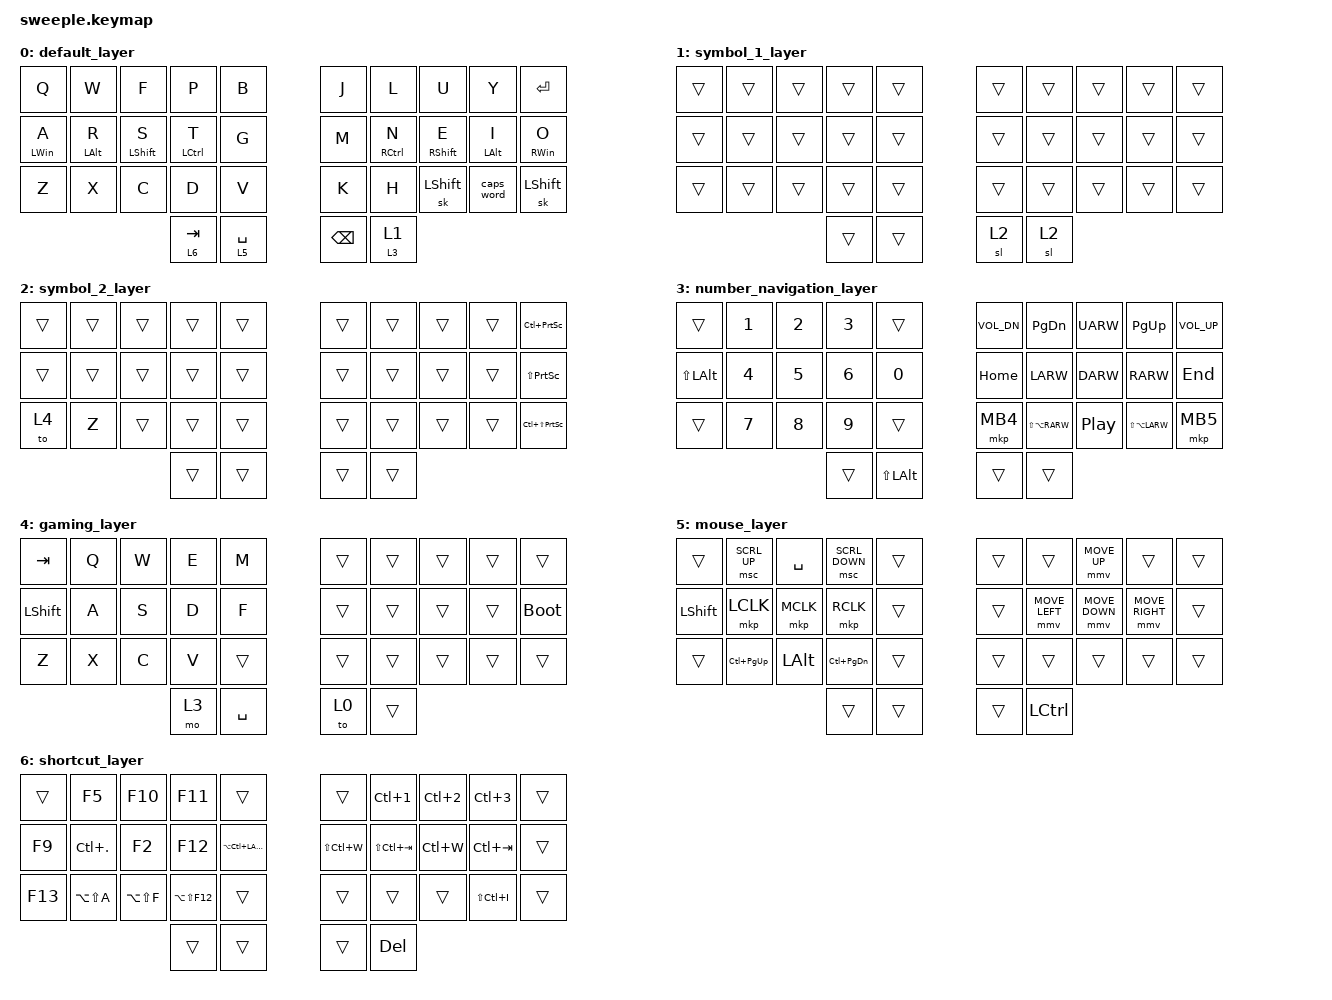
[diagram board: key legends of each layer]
#include <behaviors.dtsi>
#include <behaviors/mouse_keys.dtsi>
#include <dt-bindings/zmk/keys.h>
#include <dt-bindings/zmk/bt.h>
#include <dt-bindings/zmk/pointing.h>
#include <dt-bindings/zmk/mouse.h>  

#define KEYS_L 0 1 2 3 4 10 11 12 13 14 20 21 22 23 24
#define KEYS_R 5 6 7 8 9 15 16 17 18 19 25 26 27 28 29
#define KEYS_T 30 31 32 33

/ {
    behaviors {
        morph_curlybracket: morph_curlybracket {
            compatible = "zmk,behavior-mod-morph";
            #binding-cells = <0>;
            bindings = <&kp RA(N7)>, <&kp RA(N0)>;
            mods = <(MOD_LSFT|MOD_RSFT)>;
        };
        morph_parenthesis: morph_parenthesis {
            compatible = "zmk,behavior-mod-morph";
            #binding-cells = <0>;
            bindings = <&kp ASTRK>, <&kp LPAR>;
            mods = <(MOD_LSFT|MOD_RSFT)>;
        };
        morph_bracket: morph_bracket {
            compatible = "zmk,behavior-mod-morph";
            #binding-cells = <0>;
            bindings = <&kp RA(N8)>, <&kp RA(N9)>;
            mods = <(MOD_LSFT|MOD_RSFT)>;
        };
        morph_lt_gt: morph_lt_gt {
            compatible = "zmk,behavior-mod-morph";
            #binding-cells = <0>;
            bindings = <&kp NUBS>, <&kp LS(NUBS)>;
            mods = <(MOD_LSFT|MOD_RSFT)>;
        };
        morph_minus_under: morph_minus_under {
            compatible = "zmk,behavior-mod-morph";
            #binding-cells = <0>;
            bindings = <&kp FSLH>, <&kp LS(FSLH)>;
            mods = <(MOD_LSFT|MOD_RSFT)>;
        };
        morph_equals_plus: morph_equals_plus {
            compatible = "zmk,behavior-mod-morph";
            #binding-cells = <0>;
            bindings = <&kp RPAR>, <&kp MINUS>;
            mods = <(MOD_LSFT|MOD_RSFT)>;
        };

        morph_slash_backslash: morph_slash_backslash {
            compatible = "zmk,behavior-mod-morph";
            #binding-cells = <0>;
            bindings = <&kp AMPS>, <&kp RA(NUBS)>;
            mods = <(MOD_LSFT|MOD_RSFT)>;
        };
        
        morph_and_or: morph_and_or {
            compatible = "zmk,behavior-mod-morph";
            #binding-cells = <0>;
            bindings = <&kp CARET>, <&kp RA(EQUAL)>;
            mods = <(MOD_LSFT|MOD_RSFT)>;
        };
        morph_dot: morph_dot {
            compatible = "zmk,behavior-mod-morph";
            #binding-cells = <0>;
            bindings = <&kp DOT>, <&kp LS(DOT)>;
            mods = <(MOD_LSFT|MOD_RSFT)>;
        };
        morph_comma: morph_comma {
            compatible = "zmk,behavior-mod-morph";
            #binding-cells = <0>;
            bindings = <&kp COMMA>, <&kp LS(COMMA)>;
            mods = <(MOD_LSFT|MOD_RSFT)>;
        };
        morph_qmark_emark: morph_qmark_emark {
            compatible = "zmk,behavior-mod-morph";
            #binding-cells = <0>;
            bindings = <&kp UNDER>, <&kp LS(EXCL)>;
            mods = <(MOD_LSFT|MOD_RSFT)>;
        };
        morph_asterisk_percent: morph_asterisk_percent {
            compatible = "zmk,behavior-mod-morph";
            #binding-cells = <0>;
            bindings = <&kp PIPE>, <&kp PRCNT>;
            mods = <(MOD_LSFT|MOD_RSFT)>;
        };

        morph_doublequote_singlequote: morph_doublequote_singlequote {
            compatible = "zmk,behavior-mod-morph";
            #binding-cells = <0>;
            bindings = <&kp LS(N2)>, <&kp BSLH>;
            mods = <(MOD_LSFT|MOD_RSFT)>;
        };
        morph_at_pound: morph_at_pound {
            compatible = "zmk,behavior-mod-morph";
            #binding-cells = <0>;
            bindings = <&kp RA(N2)>, <&kp LS(N3)>;
            mods = <(MOD_LSFT|MOD_RSFT)>;
        };
        morph_dollar_euro: morph_dollar_euro {
            compatible = "zmk,behavior-mod-morph";
            #binding-cells = <0>;
            bindings = <&kp RA(N4)>, <&kp LC(LA(E))>;
            mods = <(MOD_LSFT|MOD_RSFT)>;
        };

        morph_tilde_caret: morph_tilde_caret {
            compatible = "zmk,behavior-mod-morph";
            #binding-cells = <0>;
            bindings = <&kp RA(RBKT)>, <&kp RBRC>;
            mods = <(MOD_LSFT|MOD_RSFT)>;
        };

        morph_backtick_accent: morph_backtick_accent {
            compatible = "zmk,behavior-mod-morph";
            #binding-cells = <0>;
            bindings = <&kp PLUS>, <&kp EQUAL>;
            mods = <(MOD_LSFT|MOD_RSFT)>;
        };
        
        lpht: left_positional_hold_tap {
            compatible = "zmk,behavior-hold-tap";
            #binding-cells = <2>;
            flavor = "balanced";
            tapping-term-ms = <220>;
            quick-tap-ms = <175>;
            require-prior-idle-ms = <150>;
            bindings = <&kp>, <&kp>;
            hold-trigger-key-positions = <KEYS_R KEYS_T>;
            hold-trigger-on-release;
        };
        rpht: right_positional_hold_tap {
            compatible = "zmk,behavior-hold-tap";
            #binding-cells = <2>;
            flavor = "balanced";
            tapping-term-ms = <220>;
            quick-tap-ms = <175>;
            require-prior-idle-ms = <150>;
            bindings = <&kp>, <&kp>;
            hold-trigger-key-positions = <KEYS_L KEYS_T>;
            hold-trigger-on-release;
        };
        htl: hold_tap_leader {
            label = "leader_hold_tap";
            compatible = "zmk,behavior-hold-tap";
            #binding-cells = <2>; 
            flavor = "tap-preferred"; 
            tapping-term-ms = <150>; 
            bindings = <&mo>, <&sl>; 
        };

        htlk: hold_tap_leader_kp {
            label = "leader_hold_tap_kp";
            compatible = "zmk,behavior-hold-tap";
            #binding-cells = <2>; 
            flavor = "tap-preferred"; 
            tapping-term-ms = <200>; 
            bindings = <&mo>, <&kp>; 
        };
    };

    combos {
        compatible = "zmk,combos";
        combo_aa {
            timeout-ms = <30>;
            key-positions = <17 18>; 
            layers = <0>;
            bindings = <&kp LBKT>;
        };
        combo_ae {
            timeout-ms = <30>;
            key-positions = <7 8>;
            layers = <0>;
            bindings = <&kp SEMI>; 
        };
         combo_ao {
            timeout-ms = <30>;
            key-positions = <27 28>; 
            layers = <0>;
            bindings = <&kp SQT>; 
        };

        combo_morph_curlybracket {
            timeout-ms = <30>;
            key-positions = <16 7>; 
            layers = <0 4>;
            bindings = <&morph_curlybracket>; 
        };
        combo_parenthesis {
            timeout-ms = <30>;
            key-positions = <16 17>; 
            layers = <0 4>;
            bindings = <&morph_parenthesis>; 
        };
        combo_bracket {
            timeout-ms = <30>;
            key-positions = <16 27>; 
            layers = <0 4>;
            bindings = <&morph_bracket>; 
        };
        combo_lt_gt {
            timeout-ms = <30>;
            key-positions = <6 7>; 
            layers = <0 4>;
            bindings = <&morph_lt_gt>; 
        };
        combo_minus_under {
            timeout-ms = <30>;
            key-positions = <26 27>; 
            layers = <0 4>;
            bindings = <&morph_minus_under>; 
        };
        combo_equals_plus {
            timeout-ms = <30>;
            key-positions = <26 17>; 
            layers = <0 4>;
            bindings = <&morph_equals_plus>; 
        };
        
        combo_slash_backslash {
            timeout-ms = <30>;
            key-positions = <7 18>; 
            layers = <0 4>;
            bindings = <&morph_slash_backslash>; 
        };

        combo_and_or {
            timeout-ms = <30>;
            key-positions = <2 3>; 
            layers = <0 4>;
            bindings = <&morph_and_or>; 
        };
        combo_dot {
            timeout-ms = <30>;
            key-positions = <12 13>; 
            layers = <0 4>;
            bindings = <&morph_dot>; 
        };
        combo_comma {
            timeout-ms = <30>;
            key-positions = <2 13>; 
            layers = <0 4>;
            bindings = <&morph_comma>; 
        };
        combo_qmark_emark {
            timeout-ms = <30>;
            key-positions = <22 23>; 
            layers = <0 4>;
            bindings = <&morph_qmark_emark>; 
        };
        combo_asterisk_percent {
            timeout-ms = <30>;
            key-positions = <12 23>; 
            layers = <0 4>;
            bindings = <&morph_asterisk_percent>; 
        };

        combo_doublequote_singlequote {
            timeout-ms = <30>;
            key-positions = <11 12>; 
            layers = <0 4>;
            bindings = <&morph_doublequote_singlequote>; 
        };
        combo_at_pound {
            timeout-ms = <30>;
            key-positions = <11 2>; 
            layers = <0 4>;
            bindings = <&morph_at_pound>; 
        };
        combo_dollar_euro {
            timeout-ms = <30>;
            key-positions = <21 12>; 
            layers = <0 4>;
            bindings = <&morph_dollar_euro>; 
        };
        
        
        combo_esc {
            timeout-ms = <30>;
            key-positions = <0 1>; 
            layers = <0 4>;
            bindings = <&kp ESC>; 
        };
        
        combo_paste {
            timeout-ms = <30>;
            key-positions = <1 2>; 
            layers = <0>;
            bindings = <&kp LC(V)>; 
        };
        combo_copy {
            timeout-ms = <30>;
            key-positions = <21 22>; 
            layers = <0>;
            bindings = <&kp LC(C)>; 
        };

        combo_tilde_caret {
            timeout-ms = <30>;
            key-positions = <18 19>;
            layers = <0>;
            bindings = <&morph_tilde_caret>; 
        };
        combo_backtick_accent {
            timeout-ms = <30>;
            key-positions = <10 11>; 
            layers = <0>;
            bindings = <&morph_backtick_accent>; 
        };
    };
    
    keymap {
        compatible = "zmk,keymap";
        default_layer {
            bindings = <
        //╭──────────┬──────────┬──────────┬──────────┬──────────╮   ╭──────────┬──────────┬──────────┬──────────┬──────────╮
            &kp Q     &kp W       &kp F      &kp P      &kp B          &kp J      &kp L      &kp U      &kp Y      &kp RET
        //├──────────┼──────────┼──────────┼──────────┼──────────┤   ├──────────┼──────────┼──────────┼──────────┼──────────┤
        &lpht LWIN A &lpht LALT R &lpht LSHIFT S &lpht LCTRL T &kp G   &kp M      &rpht RCTRL N &rpht RSHIFT E &rpht LALT I &rpht RWIN O
        //├──────────┼──────────┼──────────┼──────────┼──────────┤   ├──────────┼──────────┼──────────┼──────────┼──────────┤
            &kp Z     &kp X       &kp C      &kp D      &kp V          &kp K      &kp H      &sk LSHIFT &caps_word &sk LSHIFT
        //╰──────────┴──────────┴──────────┼──────────┼──────────┤   ├──────────┼──────────┼──────────┴──────────┴──────────╯
                                           &lt 6 TAB    &htlk 5 SPACE  &kp BSPC   &htl 3 1
        //                                 ╰──────────┴──────────╯   ╰──────────┴──────────╯
            >;
        };

        symbol_1_layer {
            bindings = <
        //╭──────────┬──────────┬──────────┬──────────┬──────────╮   ╭──────────┬──────────┬──────────┬──────────┬──────────╮
        //│          │  $       │  @       │  =       │ |        │   │          │  <       │  ?       │  +       │          │
            &trans     &trans     &trans     &trans     &trans        &trans     &trans     &trans     &trans      &trans
        //├──────────┼──────────┼──────────┼──────────┼──────────┤   ├──────────┼──────────┼──────────┼──────────┼──────────┤
        //│  `       │  '       │  "       │  :       │  %       │   │  (       │  -       │  &       │  /       │  *       │
            &trans     &trans     &trans     &trans     &trans        &trans     &trans     &trans     &trans      &trans
        //├──────────┼──────────┼──────────┼──────────┼──────────┤   ├──────────┼──────────┼──────────┼──────────┼──────────┤
        //│          │          │  #       │  .       │          │   │          │  {       │  [       │  ~       │          │
            &trans     &trans     &trans    &trans    &trans         &trans     &trans     &trans     &trans       &trans
        //╰──────────┴──────────┴──────────┼──────────┼──────────┤   ├──────────┼──────────┼──────────┴──────────┴──────────╯
                                            &trans      &trans         &sl 2      &sl 2
        //                                 ╰──────────┴──────────╯   ╰──────────┴──────────╯
            >; 
        };
 
        symbol_2_layer {
            bindings = <
        //╭──────────┬──────────┬──────────┬──────────┬──────────╮   ╭──────────┬──────────┬──────────┬──────────┬──────────╮
        //│          │  €       │          │          │          │   │          │  >       │  !       │          │          │
            &trans     &trans     &trans     &trans    &trans         &trans     &trans     &trans     &trans     &kp LC(PSCRN)
        //├──────────┼──────────┼──────────┼──────────┼──────────┤   ├──────────┼──────────┼──────────┼──────────┼──────────┤
        //│  ´       │          │  '       │  ;       │          │   │  )       │  _       │  |       │ \        │          │
            &trans     &trans     &trans     &trans    &trans         &trans     &trans     &trans     &trans     &kp LS(PSCRN)
        //├──────────┼──────────┼──────────┼──────────┼──────────┤   ├──────────┼──────────┼──────────┼──────────┼──────────┤
        //│          │          │          │  ,       │          │   │          │  }       │  ]       │  ^       │          │
            &to 4      &kp Z      &trans     &trans    &trans         &trans     &trans     &trans     &trans     &kp LC(LS(PSCRN))
        //╰──────────┴──────────┴──────────┼──────────┼──────────┤   ├──────────┼──────────┼──────────┴──────────┴──────────╯
                                             &trans     &trans         &trans     &trans
        //                                 ╰──────────┴──────────╯   ╰──────────┴──────────╯
            >;
        };

        number_navigation_layer {
            bindings = <
        //╭──────────┬──────────┬──────────┬──────────┬──────────╮   ╭──────────┬──────────┬──────────┬──────────┬──────────╮
        //│          │  1       │  2       │  3       │          │   │ VOL DOWN │ PAGE DN  │ UP       │ PAGE UP  │ VOL UP   │ 
            &trans     &kp N1     &kp N2     &kp N3     &trans        &kp C_VOL_DN &kp PG_DN  &kp UARW   &kp PG_UP  &kp C_VOL_UP
        //├──────────┼──────────┼──────────┼──────────┼──────────┤   ├──────────┼──────────┼──────────┼──────────┼──────────┤
        //│          │  4       │  5       │  6       │  0       │   │ HOME     │ LEFT     │ DOWN     │ RIGHT    │END       │
         &kp LS(LALT)  &kp N4     &kp N5     &kp N6     &kp N0         &kp HOME    &kp LARW   &kp DARW   &kp RARW   &kp END
        //├──────────┼──────────┼──────────┼──────────┼──────────┤   ├──────────┼──────────┼──────────┼──────────┼──────────┤
        //│          │  7       │  8       │  9       │          │   │ BACK     │+selection│PLAY PAUSE│-selection│ FORWARD  │
            &trans     &kp N7     &kp N8     &kp N9     &trans      &mkp MB4 &kp LS(LA(RARW)) &kp C_PP &kp LS(LA(LARW)) &mkp MB5
        //╰──────────┴──────────┴──────────┼──────────┼──────────┤   ├──────────┼──────────┼──────────┴──────────┴──────────╯
                                             &trans     &kp LS(LALT)   &trans     &trans
        //                                 ╰──────────┴──────────╯   ╰──────────┴──────────╯
            >;
        };
        
        gaming_layer {
            bindings = <
        //╭──────────┬──────────┬──────────┬──────────┬──────────╮   ╭──────────┬──────────┬──────────┬──────────┬──────────╮
            &kp TAB   &kp Q      &kp W      &kp E      &kp M          &trans     &trans     &trans     &trans     &trans
        //├──────────┼──────────┼──────────┼──────────┼──────────┤   ├──────────┼──────────┼──────────┼──────────┼──────────┤
            &kp LSHIFT &kp A     &kp S      &kp D      &kp F          &trans     &trans     &trans     &trans    &bootloader
        //├──────────┼──────────┼──────────┼──────────┼──────────┤   ├──────────┼──────────┼──────────┼──────────┼──────────┤
            &kp Z      &kp X      &kp C      &kp V      &trans        &trans     &trans     &trans     &trans     &trans
        //╰──────────┴──────────┴──────────┼──────────┼──────────┤   ├──────────┼──────────┼──────────┴──────────┴──────────╯
                                            &mo 3      &kp SPACE      &to 0      &trans
        //                                 ╰──────────┴──────────╯   ╰──────────┴──────────╯
            >;
        };

        mouse_layer {
            bindings = <
        //╭──────────┬──────────┬──────────┬──────────┬──────────╮   ╭──────────┬──────────┬──────────┬──────────┬──────────╮
        //│          │          │          │          │          │   │          │          │          │          │          │
            &trans    &msc SCRL_UP &kp SPACE &msc SCRL_DOWN &trans     &trans     &trans   &mmv MOVE_UP &trans     &trans
        //├──────────┼──────────┼──────────┼──────────┼──────────┤   ├──────────┼──────────┼──────────┼──────────┼──────────┤
        //│          │          │          │          │          │   │          │          │          │          │          │
            &kp LSHIFT &mkp LCLK  &mkp MCLK  &mkp RCLK  &trans         &trans  &mmv MOVE_LEFT &mmv MOVE_DOWN &mmv MOVE_RIGHT  &trans     
        //├──────────┼──────────┼──────────┼──────────┼──────────┤   ├──────────┼──────────┼──────────┼──────────┼──────────┤
        //│          │          │          │          │          │   │          │          │          │          │          │
            &trans  &kp LC(PG_UP) &kp LALT &kp LC(PG_DN) &trans         &trans     &trans     &trans     &trans     &trans
        //╰──────────┴──────────┴──────────┼──────────┼──────────┤   ├──────────┼──────────┼──────────┴──────────┴──────────╯
                                             &trans     &trans         &trans     &kp LCTRL
        //                                 ╰──────────┴──────────╯   ╰──────────┴──────────╯
            >;
        };

        shortcut_layer {
            bindings = <
        //╭──────────┬──────────┬──────────┬──────────┬──────────╮   ╭──────────┬──────────┬──────────┬──────────┬──────────╮
        //│          │ Continue │ Step over│ Step into│          │   │          │          │          │          │          │
            &trans     &kp F5     &kp F10    &kp F11    &trans         &trans     &kp LC(N1) &kp LC(N2) &kp LC(N3) &trans
        //├──────────┼──────────┼──────────┼──────────┼──────────┤   ├──────────┼──────────┼──────────┼──────────┼──────────┤
        //│Breakpoint│Fix       │ Rename   │ Goto def │ annotate │   │          │          │          │          │          │
            &kp F9    &kp LC(DOT) &kp F2     &kp F12  &kp LA(LC(LARW)) &kp LS(LC(W)) &kp LS(LC(TAB)) &kp LC(W) &kp LC(TAB) &trans
        //├──────────┼──────────┼──────────┼──────────┼──────────┤   ├──────────┼──────────┼──────────┼──────────┼──────────┤
        //│Bookmark  │Comment   │Format    │References│          │   │          │          │          │          │          │
            &kp F13   &kp LA(LS(A)) &kp LA(LS(F)) &kp LA(LS(F12))      &trans    &trans     &trans     &trans  &kp LS(LC(I)) &trans
        //╰──────────┴──────────┴──────────┼──────────┼──────────┤   ├──────────┼──────────┼──────────┴──────────┴──────────╯
                                             &trans     &trans         &trans     &kp DEL
        //                                 ╰──────────┴──────────╯   ╰──────────┴──────────╯
            >;
        };
    };
};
